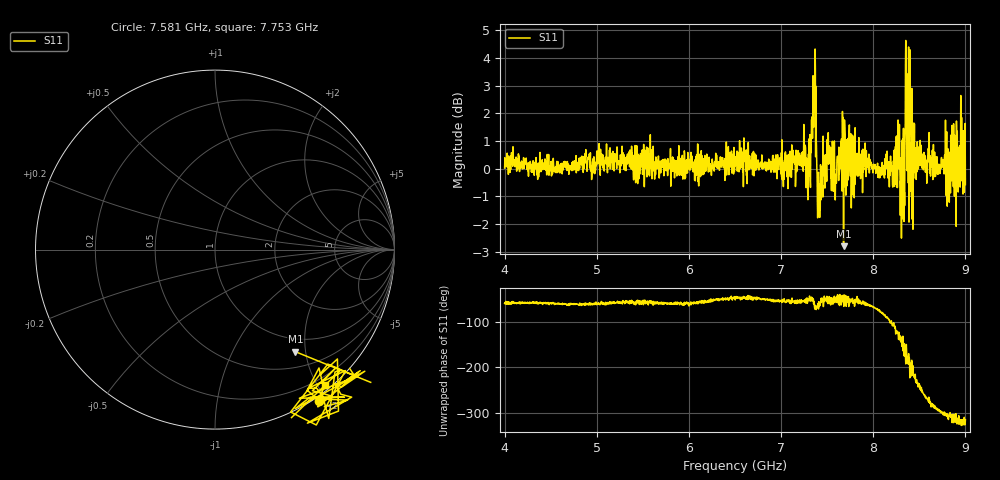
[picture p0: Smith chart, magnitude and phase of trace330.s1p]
! Created with skrf 1.8.0 (http://scikit-rf.org).
# Hz S RI R 50.0
!freq ReS11 ImS11
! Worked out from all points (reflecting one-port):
!   1601 points, 4 GHz to 9 GHz, reference 50 ohm
!   lowest |S11| = -2.8 dB at 7.678 GHz (marker M1), VSWR 6.25, Z = 37.8 - j90.6 ohm
!   phase of S11 starts at -58 deg and turns -257 deg over the sweep
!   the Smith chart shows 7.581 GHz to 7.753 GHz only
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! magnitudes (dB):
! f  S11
! 4 GHz  0.0
! 4.625 GHz  -0.2
! 5.25 GHz  -0.1
! 5.875 GHz  0.0
! 6.5 GHz  0.4
! 7.125 GHz  0.4
! 7.241 GHz  -0.1
! 7.294 GHz  0.0
! 7.353 GHz  1.5
! 7.369 GHz  4.3
! 7.4 GHz  -0.9
! 7.412 GHz  -1.3
! 7.512 GHz  1.3
! 7.588 GHz  -1.1
! 7.678 GHz  -2.8
! 7.75 GHz  0.1
! 8.222 GHz  0.0
! 8.262 GHz  -0.7
! 8.316 GHz  0.2
! 8.334 GHz  -1.9
! 8.375 GHz  3.4
! 8.412 GHz  0.8
! 8.447 GHz  1.6
! 8.459 GHz  -0.2
! 8.772 GHz  0.4
! 8.812 GHz  0.3
! 8.972 GHz  0.3
! 9 GHz  -0.6
